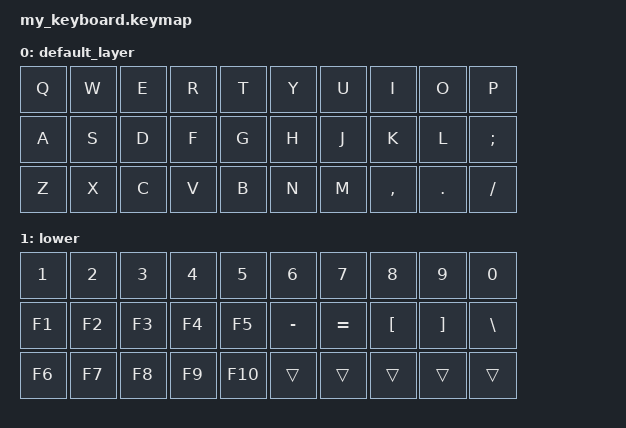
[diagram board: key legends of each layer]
#include <behaviors.dtsi>
#include <dt-bindings/zmk/keys.h>
/ {
    keymap {
        compatible = "zmk,keymap";

        default_layer {
            // Physical Layout: 3 rows, 10 columns
            bindings = <
                &kp Q &kp W &kp E &kp R &kp T    &kp Y &kp U &kp I     &kp O   &kp P
                &kp A &kp S &kp D &kp F &kp G    &kp H &kp J &kp K     &kp L   &kp SEMI
                &kp Z &kp X &kp C &kp V &kp B    &kp N &kp M &kp COMMA &kp DOT &kp SLASH
            >;
        };

        lower {
            bindings = <
                &kp N1 &kp N2 &kp N3 &kp N4 &kp N5    &kp N6 &kp N7 &kp N8 &kp N9 &kp N0
                &kp F1 &kp F2 &kp F3 &kp F4 &kp F5    &kp MINUS &kp EQUAL &kp LBKT &kp RBKT &kp BSLH
                &kp F6 &kp F7 &kp F8 &kp F9 &kp F10   &trans &trans &trans &trans &trans
            >;
        };
    };
};
